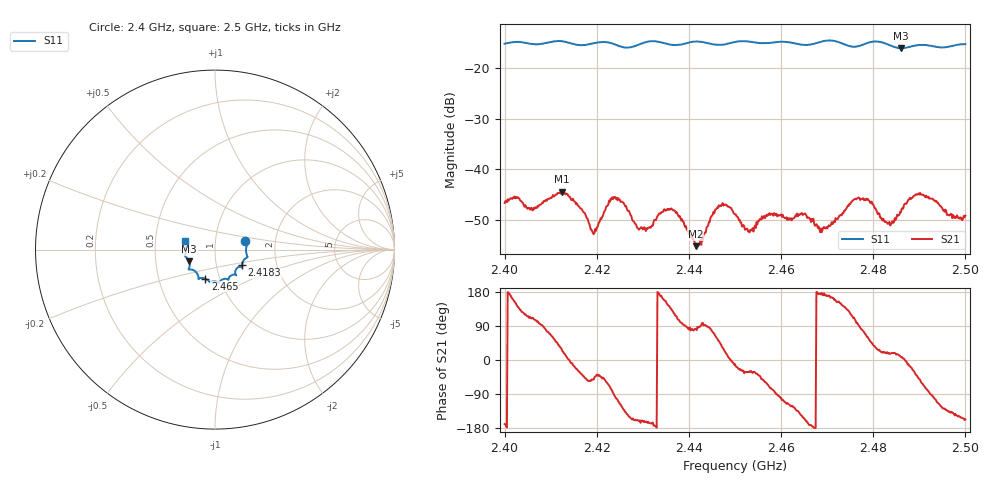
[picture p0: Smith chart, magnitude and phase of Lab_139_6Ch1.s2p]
# Hz S RI R 50
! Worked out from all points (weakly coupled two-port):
!   601 points, 2.4 GHz to 2.5 GHz, reference 50 ohm
!   highest |S21| = -44.47 dB at 2.4125 GHz (marker M1); lowest = -55.2 dB at 2.4415 GHz (marker M2)
!   lowest |S11| = -16.0 dB at 2.486 GHz (marker M3), VSWR 1.38, Z = 37.1 - j4.96 ohm
!   |S11| at or under -10 dB: start of sweep to end of sweep
!   S12 and S22 are empty: the file has one direction only
!   S11 on the Smith chart (normalised r, x): 2.4 GHz: 1.40, +0.13; 2.4183 GHz: 1.33, -0.24; 2.465 GHz: 0.86, -0.29; 2.5 GHz: 0.71, +0.07
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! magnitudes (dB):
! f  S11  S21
! 2.4 GHz  -15.1  -46.7
! 2.4065 GHz  -15.2  -47.8
! 2.4125 GHz  -14.6  -44.5
! 2.4167 GHz  -15.4  -47.8
! 2.4183 GHz  -15.2  -50.8
! 2.4197 GHz  -15.0  -51.8
! 2.4238 GHz  -15.2  -45.6
! 2.4292 GHz  -15.3  -52.0
! 2.4333 GHz  -14.7  -49.1
! 2.4368 GHz  -15.4  -48.1
! 2.4415 GHz  -14.7  -55.2
! 2.4468 GHz  -15.4  -47.2
! 2.45 GHz  -14.8  -48.9
! 2.4532 GHz  -14.7  -52.5
! 2.465 GHz  -15.4  -48.8
! 2.4667 GHz  -15.2  -49.8
! 2.4702 GHz  -14.5  -51.5
! 2.4765 GHz  -15.7  -45.7
! 2.4833 GHz  -15.3  -50.7
! 2.486 GHz  -16.0  -48.5
! 2.4903 GHz  -15.4  -45.0
! 2.5 GHz  -15.2  -49.2
